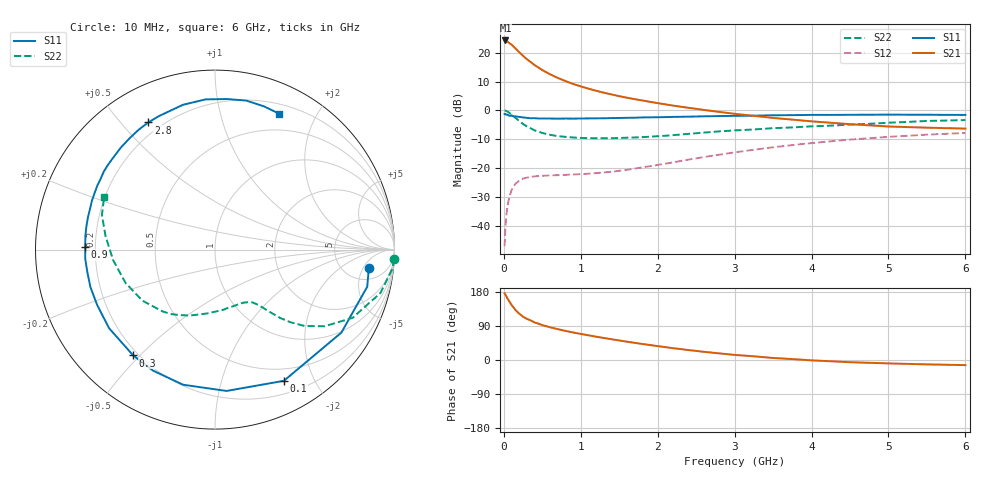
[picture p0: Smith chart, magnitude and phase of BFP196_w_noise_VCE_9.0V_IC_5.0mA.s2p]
! Infineon Technologies  Discrete & RF Semiconductors
! BFP196
! VCE =  9.0 V,  IC =  5.0 mA
! Common Emitter S-Parameters:  Jan 2017
# GHz  S  MA  R  50
!  f  S11  S21  S12  S22
! GHz  MAG  ANG  MAG  ANG  MAG  ANG  MAG  ANG
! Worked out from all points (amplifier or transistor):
!   77 points, 10 MHz to 6 GHz, reference 50 ohm
!   highest |S21| = 24.2 dB at 20 MHz (marker M1)
!   |S21| within 3 dB of that: start of sweep to 160.3 MHz
!   unconditionally stable (mu >= 1): 1.205 GHz to 2.324 GHz
!   at 130 MHz: K = 0.14, MSG = 24.1 dB, |S12| = -26.2 dB
!   at 2.2 GHz: K = 1.03, MAG = 8.7 dB, |S12| = -18.0 dB
!   at 6 GHz: K = 0.93, MSG = 0.7 dB, |S12| = -7.8 dB
!   lowest NFmin = 1.01 dB at 450 MHz
!   S11 on the Smith chart (normalised r, x): 10 MHz: 8, -7; 100 MHz: 0.35, -1.60; 300 MHz: 0.18, -0.48; 900 MHz: 0.16, +0.01; 2.8 GHz: 0.15, +0.59; 6 GHz: 0.30, +1.53
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0.01  0.8634 -7.0  16.08 176.2  0.0045 86.0  1 -3.0
0.02  0.873 -13.7  16.23 172.5  0.0095 83.5  0.9937 -6.2
0.05  0.8424 -33.3  15.46 161.2  0.0233 73.2  0.9535 -14.6
0.1  0.8256 -62.3  13.79 145.1  0.042 59.5  0.8557 -26.4
0.15  0.7902 -85.3  11.85 132.1  0.054 48.8  0.7462 -34.9
0.2  0.7736 -103.3  10.2 122.3  0.0611 41.8  0.657 -40.4
0.25  0.7575 -117.1  8.806 114.2  0.0663 36.5  0.5834 -43.9
0.3  0.7453 -127.7  7.678 108.5  0.069 33.1  0.5279 -46.3
0.4  0.7349 -143.4  6.084 99.1  0.0726 28.9  0.4529 -49.1
0.5  0.7255 -154.7  4.988 92.1  0.0739 27.2  0.4077 -51.1
0.6  0.7248 -163.3  4.229 86.4  0.0754 26.6  0.3792 -52.9
0.7  0.7222 -170.0  3.655 81.5  0.076 27.2  0.3604 -54.7
0.9  0.7231 178.8  2.875 72.7  0.0783 29.3  0.3411 -59.5
1.1  0.7281 169.9  2.382 65.2  0.0806 33.0  0.3331 -65.1
1.3  0.7323 162.0  2.027 58.1  0.0848 37.1  0.3316 -71.6
1.5  0.7411 154.9  1.766 51.6  0.0904 41.0  0.3335 -78.6
2.1  0.7674 135.7  1.275 34.0  0.1203 50.1  0.3654 -100.8
2.8  0.8001 117.7  0.944 17.4  0.1718 51.2  0.4348 -124.3
3.1  0.8083 110.9  0.847 12.0  0.1964 49.0  0.4582 -133.6
4.1  0.8378 91.9  0.634 -1.9  0.2807 38.4  0.5366 -162.6
5.1  0.8464 76.7  0.523 -9.5  0.3558 24.7  0.6213 171.0
6  0.8375 64.8  0.485 -13.5  0.4095 12.4  0.6827 154.8
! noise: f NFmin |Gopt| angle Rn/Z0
0.45  1.01  0.42  127  0.08
0.9  1.47  0.55  170  0.06
1.9  2.9  0.74  -142  0.31
2.4  3.55  0.76  -125  0.95
